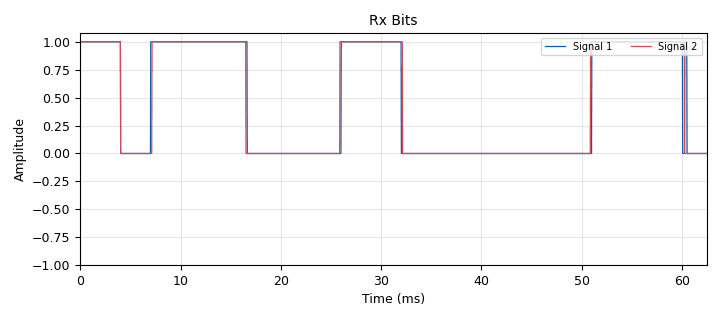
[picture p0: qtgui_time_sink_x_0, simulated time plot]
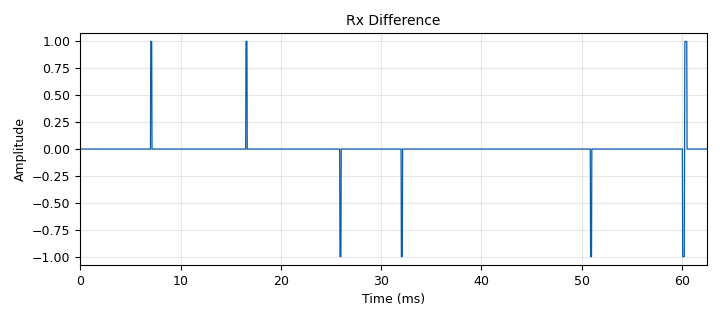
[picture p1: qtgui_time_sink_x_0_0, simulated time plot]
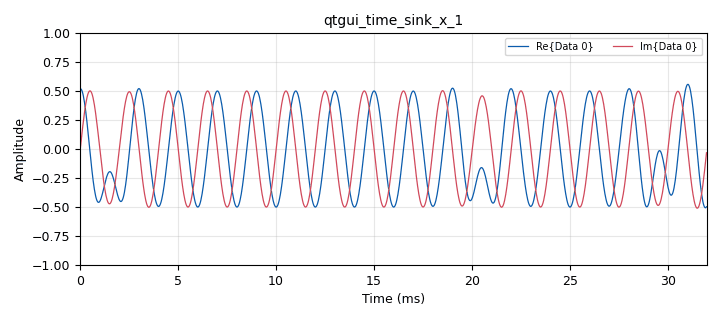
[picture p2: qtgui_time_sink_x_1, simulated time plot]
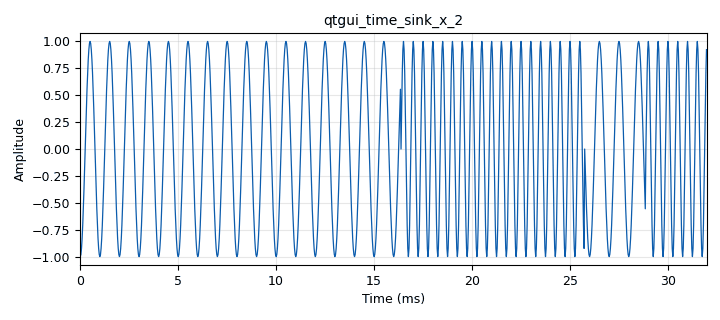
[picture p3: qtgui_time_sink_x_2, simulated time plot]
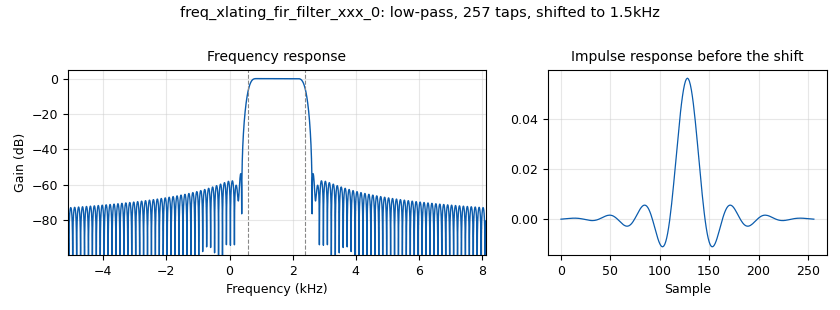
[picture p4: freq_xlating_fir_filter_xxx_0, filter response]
options:
  parameters:
    author: Madeline Tippett
    generate_options: qt_gui
    id: alt_BFSK
    output_language: python
    title: Alternative BFSK mod/demod
  states: {}

blocks:
- name: baud
  id: variable
  parameters:
    value: '45.4545'
  states: {}
- name: centre
  id: variable
  parameters:
    value: '1500'
  states: {}
- name: fsk_deviation
  id: variable
  parameters:
    value: '500'
  states: {}
- name: inp_amp
  id: variable
  parameters:
    value: '0.068'
  states: {}
- name: repeat
  id: variable
  parameters:
    value: '1056'
  states: {}
- name: samp_rate
  id: variable
  parameters:
    value: '32000'
  states: {}
- name: sq_lvl
  id: variable_qtgui_range
  parameters:
    label: Squelch
    start: '-100'
    step: '5'
    stop: '0'
    value: '-70'
  states: {}
- name: vco_max
  id: variable
  parameters:
    value: '2500'
  states: {}
- name: vco_offset
  id: variable
  parameters:
    value: '0.850'
  states: {}
- name: analog_const_source_x_0
  id: analog_const_source_x
  parameters:
    const: '1'
    type: float
  states: {}
- name: analog_quadrature_demod_cf_0
  id: analog_quadrature_demod_cf
  parameters:
    gain: samp_rate/(2*math.pi*fsk_deviation)
  states: {}
- name: analog_random_source_x_0
  id: analog_random_source_x
  parameters:
    max: '2'
    min: '0'
    num_samps: '1024'
    repeat: 'True'
    type: byte
  states: {}
- name: analog_sig_source_x_0
  id: analog_sig_source_x
  parameters:
    amp: '1'
    freq: '2000'
    offset: '0'
    phase: '0'
    samp_rate: samp_rate
    type: float
    waveform: analog.GR_COS_WAVE
  states: {}
- name: analog_sig_source_x_0_0
  id: analog_sig_source_x
  parameters:
    amp: '1'
    freq: '1000'
    offset: '0'
    phase: '0'
    samp_rate: samp_rate
    type: float
    waveform: analog.GR_COS_WAVE
  states: {}
- name: analog_simple_squelch_cc_0
  id: analog_simple_squelch_cc
  parameters:
    alpha: '1'
    threshold: '-10'
  states: {}
- name: blocks_add_xx_0
  id: blocks_add_xx
  parameters:
    type: float
  states: {}
- name: blocks_delay_0
  id: blocks_delay
  parameters:
    delay: '129'
    type: float
  states: {}
- name: blocks_multiply_xx_0
  id: blocks_multiply_xx
  parameters:
    type: float
  states: {}
- name: blocks_multiply_xx_0_0
  id: blocks_multiply_xx
  parameters:
    type: float
  states: {}
- name: blocks_repeat_0
  id: blocks_repeat
  parameters:
    interp: '100'
    type: byte
  states: {}
- name: blocks_sub_xx_0
  id: blocks_sub_xx
  parameters:
    type: float
  states: {}
- name: blocks_sub_xx_1
  id: blocks_sub_xx
  parameters:
    type: float
  states: {}
- name: blocks_throttle_0
  id: blocks_throttle
  parameters:
    samples_per_second: samp_rate
    type: float
  states: {}
- name: blocks_uchar_to_float_0
  id: blocks_uchar_to_float
  parameters: {}
  states: {}
- name: blocks_uchar_to_float_1
  id: blocks_uchar_to_float
  parameters: {}
  states: {}
- name: digital_binary_slicer_fb_0
  id: digital_binary_slicer_fb
  parameters: {}
  states: {}
- name: freq_xlating_fir_filter_xxx_0
  id: freq_xlating_fir_filter_xxx
  parameters:
    center_freq: centre
    decim: '1'
    samp_rate: samp_rate
    taps: firdes.low_pass(1.0, samp_rate, 900, 300)
    type: fcf
  states: {}
- name: qtgui_time_sink_x_0
  id: qtgui_time_sink_x
  parameters:
    ctrlpanel: 'True'
    name: Rx Bits
    nconnections: '2'
    size: '2000'
    srate: samp_rate
    type: float
    update_time: '0'
  states: {}
- name: qtgui_time_sink_x_0_0
  id: qtgui_time_sink_x
  parameters:
    ctrlpanel: 'True'
    name: Rx Difference
    size: '2000'
    srate: samp_rate
    type: float
    update_time: '0'
  states: {}
- name: qtgui_time_sink_x_1
  id: qtgui_time_sink_x
  parameters:
    size: '1024'
    srate: samp_rate
    type: complex
  states: {}
- name: qtgui_time_sink_x_2
  id: qtgui_time_sink_x
  parameters:
    size: '1024'
    srate: samp_rate
    type: float
  states: {}
- name: virtual_sink_0
  id: virtual_sink
  parameters:
    stream_id: fsk_out
  states: {}
- name: virtual_sink_0_0
  id: virtual_sink
  parameters:
    stream_id: tx_bit_stream
  states: {}
- name: virtual_source_1
  id: virtual_source
  parameters:
    stream_id: fsk_out
  states: {}
- name: virtual_source_1_0
  id: virtual_source
  parameters:
    stream_id: tx_bit_stream
  states: {}

connections:
- [analog_const_source_x_0, '0', blocks_sub_xx_1, '1']
- [analog_quadrature_demod_cf_0, '0', digital_binary_slicer_fb_0, '0']
- [analog_random_source_x_0, '0', blocks_repeat_0, '0']
- [analog_sig_source_x_0, '0', blocks_multiply_xx_0, '1']
- [analog_sig_source_x_0_0, '0', blocks_multiply_xx_0_0, '1']
- [analog_simple_squelch_cc_0, '0', analog_quadrature_demod_cf_0, '0']
- [blocks_add_xx_0, '0', blocks_throttle_0, '0']
- [blocks_delay_0, '0', blocks_sub_xx_0, '1']
- [blocks_delay_0, '0', qtgui_time_sink_x_0, '1']
- [blocks_multiply_xx_0, '0', blocks_add_xx_0, '0']
- [blocks_multiply_xx_0_0, '0', blocks_add_xx_0, '1']
- [blocks_repeat_0, '0', blocks_uchar_to_float_0, '0']
- [blocks_sub_xx_0, '0', qtgui_time_sink_x_0_0, '0']
- [blocks_sub_xx_1, '0', blocks_multiply_xx_0_0, '0']
- [blocks_throttle_0, '0', qtgui_time_sink_x_2, '0']
- [blocks_throttle_0, '0', virtual_sink_0, '0']
- [blocks_uchar_to_float_0, '0', blocks_multiply_xx_0, '0']
- [blocks_uchar_to_float_0, '0', blocks_sub_xx_1, '0']
- [blocks_uchar_to_float_0, '0', virtual_sink_0_0, '0']
- [blocks_uchar_to_float_1, '0', blocks_sub_xx_0, '0']
- [blocks_uchar_to_float_1, '0', qtgui_time_sink_x_0, '0']
- [digital_binary_slicer_fb_0, '0', blocks_uchar_to_float_1, '0']
- [freq_xlating_fir_filter_xxx_0, '0', analog_simple_squelch_cc_0, '0']
- [freq_xlating_fir_filter_xxx_0, '0', qtgui_time_sink_x_1, '0']
- [virtual_source_1, '0', freq_xlating_fir_filter_xxx_0, '0']
- [virtual_source_1_0, '0', blocks_delay_0, '0']

metadata:
  file_format: 1
